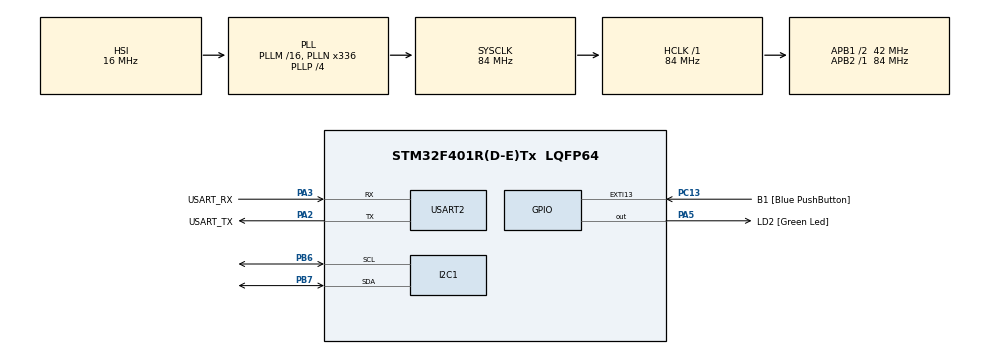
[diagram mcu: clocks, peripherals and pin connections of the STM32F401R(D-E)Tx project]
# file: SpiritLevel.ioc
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Mcu.Family=STM32F4
Mcu.Name=STM32F401R(D-E)Tx
Mcu.Package=LQFP64
NVIC.PriorityGroup=NVIC_PRIORITYGROUP_0
PA13.GPIO_Label=TMS
PA13.Mode=Serial_Wire
PA13.Signal=SYS_JTMS-SWDIO
PA14.GPIO_Label=TCK
PA14.Mode=Serial_Wire
PA14.Signal=SYS_JTCK-SWCLK
PA2.GPIO_Label=USART_TX
PA2.GPIO_Mode=GPIO_MODE_AF_PP
PA2.GPIO_PuPd=GPIO_NOPULL
PA2.GPIO_Speed=GPIO_SPEED_FREQ_LOW
PA2.Mode=Asynchronous
PA2.Signal=USART2_TX
PA3.GPIO_Label=USART_RX
PA3.GPIO_Mode=GPIO_MODE_AF_PP
PA3.GPIO_PuPd=GPIO_NOPULL
PA3.GPIO_Speed=GPIO_SPEED_FREQ_LOW
PA3.Mode=Asynchronous
PA3.Signal=USART2_RX
PA5.GPIO_Label=LD2 [Green Led]
PA5.GPIO_Mode=GPIO_MODE_OUTPUT_PP
PA5.GPIO_PuPd=GPIO_NOPULL
PA5.GPIO_Speed=GPIO_SPEED_FREQ_LOW
PA5.Signal=GPIO_Output
PB3.GPIO_Label=SWO
PB3.Signal=SYS_JTDO-SWO
PB6.Mode=I2C
PB6.Signal=I2C1_SCL
PB7.Mode=I2C
PB7.Signal=I2C1_SDA
PC13-ANTI_TAMP.GPIO_Label=B1 [Blue PushButton]
PC13-ANTI_TAMP.GPIO_ModeDefaultEXTI=GPIO_MODE_IT_FALLING
PC13-ANTI_TAMP.GPIO_PuPd=GPIO_NOPULL
PC13-ANTI_TAMP.Signal=GPXTI13
PC14-OSC32_IN.Mode=LSE-External-Oscillator
PC14-OSC32_IN.Signal=RCC_OSC32_IN
PC15-OSC32_OUT.Mode=LSE-External-Oscillator
PC15-OSC32_OUT.Signal=RCC_OSC32_OUT
PH0\ -\ OSC_IN.Mode=HSE-External-Clock-Source
PH0\ -\ OSC_IN.Signal=RCC_OSC_IN
PH1\ -\ OSC_OUT.Mode=HSE-External-Clock-Source
PH1\ -\ OSC_OUT.Signal=RCC_OSC_OUT
ProjectManager.HeapSize=0x200
ProjectManager.StackSize=0x400
ProjectManager.TargetToolchain=TrueSTUDIO
RCC.48MHZClocksFreq_Value=48000000
RCC.AHBFreq_Value=84000000
RCC.APB1CLKDivider=RCC_HCLK_DIV2
RCC.APB1Freq_Value=42000000
RCC.APB1TimFreq_Value=84000000
RCC.APB2Freq_Value=84000000
RCC.APB2TimFreq_Value=84000000
RCC.CortexFreq_Value=84000000
RCC.HCLKFreq_Value=84000000
RCC.HSE_VALUE=8000000
RCC.HSI_VALUE=16000000
RCC.PLLN=336
RCC.PLLP=RCC_PLLP_DIV4
RCC.PLLQ=7
RCC.SYSCLKFreq_VALUE=84000000
RCC.SYSCLKSource=RCC_SYSCLKSOURCE_PLLCLK
RCC.VCOOutputFreq_Value=336000000
USART2.VirtualMode=VM_ASYNC
board=NUCLEO-F401RE

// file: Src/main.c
/**
  ******************************************************************************
  * @file           : main.c
  * @brief          : Main program body
  ******************************************************************************
  ** This notice applies to any and all portions of this file
  * that are not between comment pairs USER CODE BEGIN and
  * USER CODE END. Other portions of this file, whether
  * inserted by the user or by software development tools
  * are owned by their respective copyright owners.
  *
  * COPYRIGHT(c) 2018 STMicroelectronics
  *
  * Redistribution and use in source and binary forms, with or without modification,
  * are permitted provided that the following conditions are met:
  *   1. Redistributions of source code must retain the above copyright notice,
  *      this list of conditions and the following disclaimer.
  *   2. Redistributions in binary form must reproduce the above copyright notice,
  *      this list of conditions and the following disclaimer in the documentation
  *      and/or other materials provided with the distribution.
  *   3. Neither the name of STMicroelectronics nor the names of its contributors
  *      may be used to endorse or promote products derived from this software
  *      without specific prior written permission.
  *
  * THIS SOFTWARE IS PROVIDED BY THE COPYRIGHT HOLDERS AND CONTRIBUTORS "AS IS"
  * AND ANY EXPRESS OR IMPLIED WARRANTIES, INCLUDING, BUT NOT LIMITED TO, THE
  * IMPLIED WARRANTIES OF MERCHANTABILITY AND FITNESS FOR A PARTICULAR PURPOSE ARE
  * DISCLAIMED. IN NO EVENT SHALL THE COPYRIGHT HOLDER OR CONTRIBUTORS BE LIABLE
  * FOR ANY DIRECT, INDIRECT, INCIDENTAL, SPECIAL, EXEMPLARY, OR CONSEQUENTIAL
  * DAMAGES (INCLUDING, BUT NOT LIMITED TO, PROCUREMENT OF SUBSTITUTE GOODS OR
  * SERVICES; LOSS OF USE, DATA, OR PROFITS; OR BUSINESS INTERRUPTION) HOWEVER
  * CAUSED AND ON ANY THEORY OF LIABILITY, WHETHER IN CONTRACT, STRICT LIABILITY,
  * OR TORT (INCLUDING NEGLIGENCE OR OTHERWISE) ARISING IN ANY WAY OUT OF THE USE
  * OF THIS SOFTWARE, EVEN IF ADVISED OF THE POSSIBILITY OF SUCH DAMAGE.
  *
  ******************************************************************************
  */
#include "main.h"
#include "stm32f4xx_hal.h"
#include "stdio.h"

/* USER CODE BEGIN Includes */
#define ADXL_adress 0x53<<1
/* USER CODE END Includes */

I2C_HandleTypeDef hi2c1;

UART_HandleTypeDef huart2;

/* USER CODE BEGIN PV */
/* Private variables ---------------------------------------------------------*/

/* USER CODE END PV */

void SystemClock_Config(void);
static void MX_GPIO_Init(void);
static void MX_USART2_UART_Init(void);
static void MX_I2C1_Init(void);

/* USER CODE BEGIN PFP */
/* Private function prototypes -----------------------------------------------*/

/* USER CODE END PFP */

int main(void)
{

  /* MCU Configuration----------------------------------------------------------*/

  /* Reset of all peripherals, Initializes the Flash interface and the Systick. */
  HAL_Init();

  /* Configure the system clock */
  SystemClock_Config();

  /* Initialize all configured peripherals */
  MX_GPIO_Init();
  MX_USART2_UART_Init();
  MX_I2C1_Init();
  /* USER CODE BEGIN 2 */

  uint8_t Test[] = "1 2 3 4 5 6 7 8 9 10 \n\r";
  uint8_t data[2];
  data[0] = 0x31;
  data[1] = 0x01;

  uint8_t data2[2];
  data2[0] = 0x2d;
  data2[1] = 0x00;

  uint8_t data3[2];
  data3[0] = 0x2d;
  data3[1] = 0x08;

  char buffer[100];
  uint8_t data_rec[6];
  int16_t x,y,z;
  uint8_t xg;
  char x_char[100];
  uint8_t uniqueID;

  x = ((data_rec[1]<<8)|data_rec[0]);

  xg = x * .0078;
  HAL_StatusTypeDef status;
  /* USER CODE END 2 */

  /* Infinite loop */
  /* USER CODE BEGIN WHILE */
  while (1)
  {
	  HAL_I2C_Mem_Read(&hi2c1,ADXL_adress,0x00,1,&uniqueID,1,100);
	  HAL_I2C_Master_Transmit(&hi2c1,ADXL_adress,data,2,100);
	  HAL_I2C_Master_Transmit(&hi2c1,ADXL_adress,data2,2,100);
	  HAL_I2C_Master_Transmit(&hi2c1,ADXL_adress,data3,2,100);

	  HAL_I2C_Mem_Read(&hi2c1,ADXL_adress,0x32,1,(uint8_t*)data_rec,6,100);

	  sprintf(x_char, "Read: %d ", uniqueID);
	  HAL_UART_Transmit(&huart2,x_char,strlen(x_char),100);
	  HAL_Delay(500);

  /* USER CODE END WHILE */

  }

}

void SystemClock_Config(void)
{

  RCC_OscInitTypeDef RCC_OscInitStruct;
  RCC_ClkInitTypeDef RCC_ClkInitStruct;

    /**Configure the main internal regulator output voltage
    */
  __HAL_RCC_PWR_CLK_ENABLE();

  __HAL_PWR_VOLTAGESCALING_CONFIG(PWR_REGULATOR_VOLTAGE_SCALE2);

    /**Initializes the CPU, AHB and APB busses clocks
    */
  RCC_OscInitStruct.OscillatorType = RCC_OSCILLATORTYPE_HSI;
  RCC_OscInitStruct.HSIState = RCC_HSI_ON;
  RCC_OscInitStruct.HSICalibrationValue = 16;
  RCC_OscInitStruct.PLL.PLLState = RCC_PLL_ON;
  RCC_OscInitStruct.PLL.PLLSource = RCC_PLLSOURCE_HSI;
  RCC_OscInitStruct.PLL.PLLM = 16;
  RCC_OscInitStruct.PLL.PLLN = 336;
  RCC_OscInitStruct.PLL.PLLP = RCC_PLLP_DIV4;
  RCC_OscInitStruct.PLL.PLLQ = 7;
  if (HAL_RCC_OscConfig(&RCC_OscInitStruct) != HAL_OK)
  {
    _Error_Handler(__FILE__, __LINE__);
  }

    /**Initializes the CPU, AHB and APB busses clocks
    */
  RCC_ClkInitStruct.ClockType = RCC_CLOCKTYPE_HCLK|RCC_CLOCKTYPE_SYSCLK
                              |RCC_CLOCKTYPE_PCLK1|RCC_CLOCKTYPE_PCLK2;
  RCC_ClkInitStruct.SYSCLKSource = RCC_SYSCLKSOURCE_PLLCLK;
  RCC_ClkInitStruct.AHBCLKDivider = RCC_SYSCLK_DIV1;
  RCC_ClkInitStruct.APB1CLKDivider = RCC_HCLK_DIV2;
  RCC_ClkInitStruct.APB2CLKDivider = RCC_HCLK_DIV1;

  if (HAL_RCC_ClockConfig(&RCC_ClkInitStruct, FLASH_LATENCY_2) != HAL_OK)
  {
    _Error_Handler(__FILE__, __LINE__);
  }

    /**Configure the Systick interrupt time
    */
  HAL_SYSTICK_Config(HAL_RCC_GetHCLKFreq()/1000);

    /**Configure the Systick
    */
  HAL_SYSTICK_CLKSourceConfig(SYSTICK_CLKSOURCE_HCLK);

  /* SysTick_IRQn interrupt configuration */
  HAL_NVIC_SetPriority(SysTick_IRQn, 0, 0);
}

/* I2C1 init function */
static void MX_I2C1_Init(void)
{

  hi2c1.Instance = I2C1;
  hi2c1.Init.ClockSpeed = 100000;
  hi2c1.Init.DutyCycle = I2C_DUTYCYCLE_2;
  hi2c1.Init.OwnAddress1 = 0;
  hi2c1.Init.AddressingMode = I2C_ADDRESSINGMODE_7BIT;
  hi2c1.Init.DualAddressMode = I2C_DUALADDRESS_DISABLE;
  hi2c1.Init.OwnAddress2 = 0;
  hi2c1.Init.GeneralCallMode = I2C_GENERALCALL_DISABLE;
  hi2c1.Init.NoStretchMode = I2C_NOSTRETCH_DISABLE;
  if (HAL_I2C_Init(&hi2c1) != HAL_OK)
  {
    _Error_Handler(__FILE__, __LINE__);
  }

}

/* USART2 init function */
static void MX_USART2_UART_Init(void)
{

  huart2.Instance = USART2;
  huart2.Init.BaudRate = 115200;
  huart2.Init.WordLength = UART_WORDLENGTH_8B;
  huart2.Init.StopBits = UART_STOPBITS_1;
  huart2.Init.Parity = UART_PARITY_NONE;
  huart2.Init.Mode = UART_MODE_TX_RX;
  huart2.Init.HwFlowCtl = UART_HWCONTROL_NONE;
  huart2.Init.OverSampling = UART_OVERSAMPLING_16;
  if (HAL_UART_Init(&huart2) != HAL_OK)
  {
    _Error_Handler(__FILE__, __LINE__);
  }

}

/** Configure pins as
        * Analog
        * Input
        * Output
        * EVENT_OUT
        * EXTI
        * Free pins are configured automatically as Analog (this feature is enabled through
        * the Code Generation settings)
*/
static void MX_GPIO_Init(void)
{

  GPIO_InitTypeDef GPIO_InitStruct;

  /* GPIO Ports Clock Enable */
  __HAL_RCC_GPIOC_CLK_ENABLE();
  __HAL_RCC_GPIOH_CLK_ENABLE();
  __HAL_RCC_GPIOA_CLK_ENABLE();
  __HAL_RCC_GPIOB_CLK_ENABLE();
  __HAL_RCC_GPIOD_CLK_ENABLE();

  /*Configure GPIO pin Output Level */
  HAL_GPIO_WritePin(LD2_GPIO_Port, LD2_Pin, GPIO_PIN_RESET);

  /*Configure GPIO pin : B1_Pin */
  GPIO_InitStruct.Pin = B1_Pin;
  GPIO_InitStruct.Mode = GPIO_MODE_IT_FALLING;
  GPIO_InitStruct.Pull = GPIO_NOPULL;
  HAL_GPIO_Init(B1_GPIO_Port, &GPIO_InitStruct);

  /*Configure GPIO pins : PC0 PC1 PC2 PC3
                           PC4 PC5 PC6 PC7
                           PC8 PC9 PC10 PC11
                           PC12 */
  GPIO_InitStruct.Pin = GPIO_PIN_0|GPIO_PIN_1|GPIO_PIN_2|GPIO_PIN_3
                          |GPIO_PIN_4|GPIO_PIN_5|GPIO_PIN_6|GPIO_PIN_7
                          |GPIO_PIN_8|GPIO_PIN_9|GPIO_PIN_10|GPIO_PIN_11
                          |GPIO_PIN_12;
  GPIO_InitStruct.Mode = GPIO_MODE_ANALOG;
  GPIO_InitStruct.Pull = GPIO_NOPULL;
  HAL_GPIO_Init(GPIOC, &GPIO_InitStruct);

  /*Configure GPIO pins : PA0 PA1 PA4 PA6
                           PA7 PA8 PA9 PA10
                           PA11 PA12 PA15 */
  GPIO_InitStruct.Pin = GPIO_PIN_0|GPIO_PIN_1|GPIO_PIN_4|GPIO_PIN_6
                          |GPIO_PIN_7|GPIO_PIN_8|GPIO_PIN_9|GPIO_PIN_10
                          |GPIO_PIN_11|GPIO_PIN_12|GPIO_PIN_15;
  GPIO_InitStruct.Mode = GPIO_MODE_ANALOG;
  GPIO_InitStruct.Pull = GPIO_NOPULL;
  HAL_GPIO_Init(GPIOA, &GPIO_InitStruct);

  /*Configure GPIO pin : LD2_Pin */
  GPIO_InitStruct.Pin = LD2_Pin;
  GPIO_InitStruct.Mode = GPIO_MODE_OUTPUT_PP;
  GPIO_InitStruct.Pull = GPIO_NOPULL;
  GPIO_InitStruct.Speed = GPIO_SPEED_FREQ_LOW;
  HAL_GPIO_Init(LD2_GPIO_Port, &GPIO_InitStruct);

  /*Configure GPIO pins : PB0 PB1 PB2 PB10
                           PB12 PB13 PB14 PB15
                           PB4 PB5 PB8 PB9 */
  GPIO_InitStruct.Pin = GPIO_PIN_0|GPIO_PIN_1|GPIO_PIN_2|GPIO_PIN_10
                          |GPIO_PIN_12|GPIO_PIN_13|GPIO_PIN_14|GPIO_PIN_15
                          |GPIO_PIN_4|GPIO_PIN_5|GPIO_PIN_8|GPIO_PIN_9;
  GPIO_InitStruct.Mode = GPIO_MODE_ANALOG;
  GPIO_InitStruct.Pull = GPIO_NOPULL;
  HAL_GPIO_Init(GPIOB, &GPIO_InitStruct);

  /*Configure GPIO pin : PD2 */
  GPIO_InitStruct.Pin = GPIO_PIN_2;
  GPIO_InitStruct.Mode = GPIO_MODE_ANALOG;
  GPIO_InitStruct.Pull = GPIO_NOPULL;
  HAL_GPIO_Init(GPIOD, &GPIO_InitStruct);

}

void _Error_Handler(char *file, int line)
{
  while(1)
  {
  }
}

/************************ (C) COPYRIGHT STMicroelectronics *****END OF FILE****/
